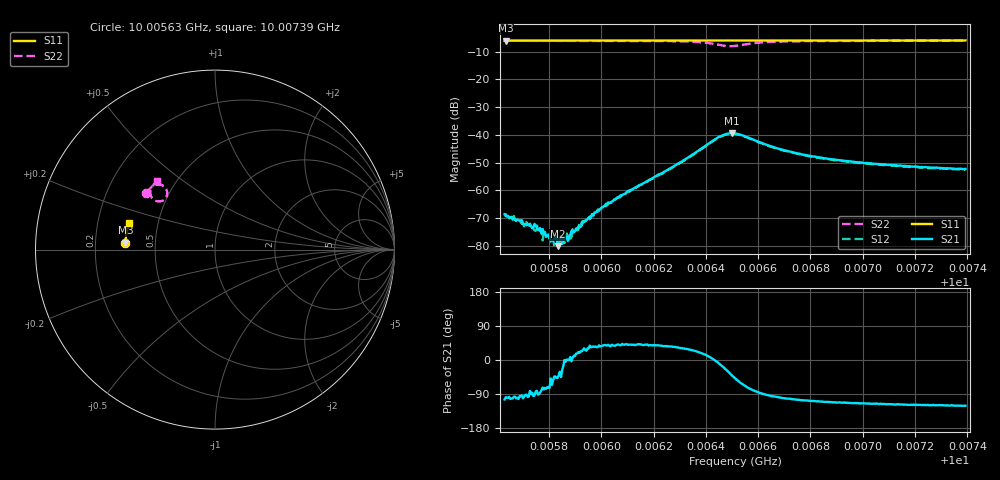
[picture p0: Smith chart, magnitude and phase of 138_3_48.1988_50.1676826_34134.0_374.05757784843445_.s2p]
#  HZ  S  RI  R  50.00
! Rohde & Schwarz Vector Network Analyzer
! Rohde-Schwarz,ZNB20-2Port,1311601062101988,3.16
! Created: UTC 3/20/2024, 11:42:12 AM
! freq[Hz]  re:S11  im:S11  re:S21  im:S21  re:S12  im:S12  re:S22  im:S22
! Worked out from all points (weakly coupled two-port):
!   401 points, 10.00563 GHz to 10.00739 GHz, reference 50 ohm
!   highest |S21| = -39.42 dB at 10.0065 GHz (marker M1); lowest = -80.2 dB at 10.00583 GHz (marker M2)
!   lowest |S11| = -6.0 dB at 10.00563 GHz (marker M3), VSWR 3.01, Z = 16.7 + j1.73 ohm
!   |S11| at or under -10 dB: nowhere
!   |S22| runs from -8.0 to -6.0 dB; largest |S21 - S12| = 0.00065
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1.000563e10  -0.4994 0.0386  -9.06e-05 -0.00036  -3.01e-05 -0.000368  -0.3845 0.3152
1.0005634e10  -0.4993 0.0388  -5.29e-05 -0.000364  -4.66e-05 -0.000335  -0.3842 0.3156
1.0005709e10  -0.4991 0.0436  -1.02e-05 -0.000247  -3.4e-05 -0.000234  -0.3805 0.3201
1.0005722e10  -0.499 0.0446  -2.64e-05 -0.00023  4.27e-05 -0.000237  -0.3801 0.3208
1.0005753e10  -0.4989 0.0466  3.46e-05 -0.000228  1.75e-05 -0.000208  -0.3785 0.3227
1.0005762e10  -0.4989 0.0471  1.18e-06 -0.000191  5.07e-05 -0.000212  -0.3781 0.3232
1.0005775e10  -0.4988 0.048  5.89e-05 -0.000191  2.8e-05 -0.00012  -0.3773 0.3242
1.0005789e10  -0.4988 0.049  3.49e-05 -0.000139  5.32e-05 -0.000161  -0.3767 0.325
1.0005811e10  -0.4987 0.0504  5.1e-05 -0.000114  5.34e-05 -0.000127  -0.3755 0.3263
1.0005833e10  -0.4987 0.0518  6.63e-05 -7.19e-05  8.77e-05 -8.28e-05  -0.3743 0.3277
1.0005859e10  -0.4985 0.0534  0.000137 -1.56e-08  0.000111 -1.21e-05  -0.3727 0.3293
1.0005877e10  -0.4984 0.0546  0.000152 -9.05e-07  0.000145 2.48e-05  -0.3718 0.3306
1.0005925e10  -0.4981 0.0577  0.000213 9.05e-05  0.000242 0.000112  -0.369 0.3338
1.0006018e10  -0.4975 0.0637  0.000446 0.000356  0.000397 0.000331  -0.3628 0.3402
1.000622e10  -0.4961 0.077  0.00151 0.00121  0.00141 0.00122  -0.3421 0.3556
1.0006445e10  -0.4932 0.0913  0.00885 -0.000973  0.00868 -0.000537  -0.2683 0.3291
1.0006498e10  -0.4926 0.094  0.00823 -0.00682  0.0084 -0.00625  -0.2846 0.2778
1.0006511e10  -0.4926 0.0947  0.00706 -0.00791  0.00733 -0.00732  -0.2973 0.2709
1.0006674e10  -0.4916 0.1052  -0.000773 -0.00561  -0.000544 -0.00559  -0.3601 0.3173
1.0006806e10  -0.4901 0.1136  -0.00126 -0.0039  -0.00111 -0.00388  -0.3546 0.3412
1.0007102e10  -0.4861 0.1324  -0.00129 -0.00255  -0.00115 -0.00256  -0.338 0.367
1.0007392e10  -0.4814 0.1505  -0.00124 -0.00208  -0.00111 -0.00207  -0.3224 0.384
